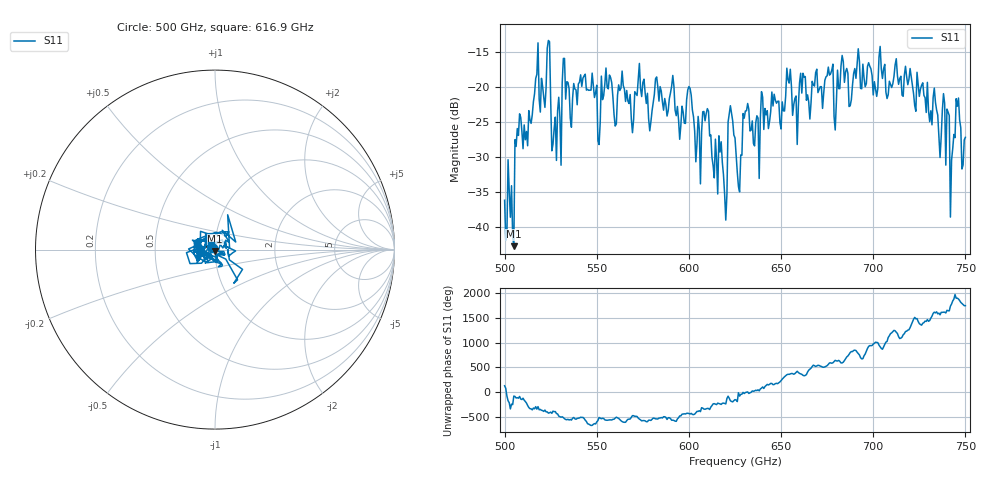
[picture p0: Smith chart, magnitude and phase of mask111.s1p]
!Created with skrf (http://scikit-rf.org).
# GHz S MA R 50.0
!freq magS11 angS11
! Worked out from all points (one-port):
!   401 points, 500 GHz to 750 GHz, reference 50 ohm
!   lowest |S11| = -42.7 dB at 505 GHz (marker M1), VSWR 1.01, Z = 50.2 - j0.713 ohm
!   |S11| at or under -10 dB: start of sweep to end of sweep
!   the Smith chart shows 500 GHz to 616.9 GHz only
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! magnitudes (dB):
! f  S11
! 500 GHz  -36.2
! 505 GHz  -42.7
! 506.9 GHz  -25.9
! 511.2 GHz  -27.5
! 516.9 GHz  -18.8
! 523.8 GHz  -13.4
! 526.9 GHz  -26.0
! 531.2 GHz  -19.4
! 562.5 GHz  -20.5
! 590.6 GHz  -19.9
! 593.8 GHz  -22.8
! 600 GHz  -19.9
! 605 GHz  -24.2
! 609.4 GHz  -23.8
! 619.4 GHz  -35.3
! 622.5 GHz  -22.7
! 625 GHz  -27.3
! 627.5 GHz  -35.0
! 630.6 GHz  -23.4
! 636.9 GHz  -24.1
! 656.2 GHz  -24.1
! 687.5 GHz  -22.7
! 691.2 GHz  -16.8
! 718.8 GHz  -19.7
! 739.4 GHz  -31.2
! 743.1 GHz  -28.8
! 746.2 GHz  -21.6
! 750 GHz  -27.2
